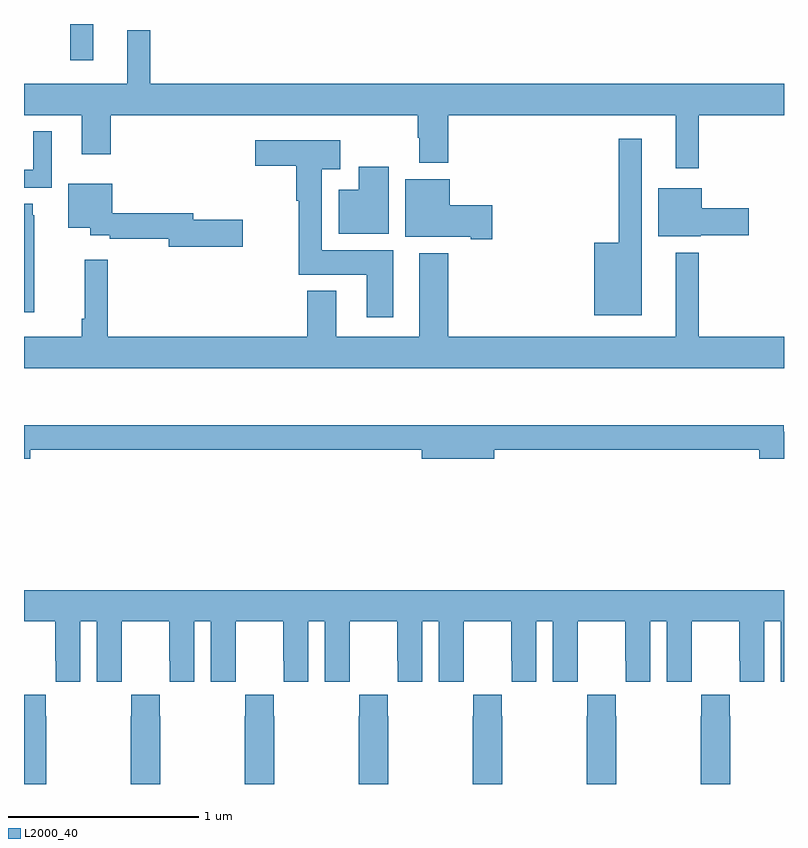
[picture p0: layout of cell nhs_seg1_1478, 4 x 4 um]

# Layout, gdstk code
import gdstk
lib = gdstk.Library(unit=1e-6, precision=1e-09)
def R(c, l, rs):  # rectangles x0, y0, x1, y1
    for r in rs: c.add(gdstk.rectangle(r[:2], r[2:], *l))
def P(c, l, *ps):  # polygons
    for p in ps: c.add(gdstk.Polygon(p, *l))
L2000_40 = (2000, 40)

nhs_seg1_1478 = lib.new_cell('nhs_seg1_1478')
R(nhs_seg1_1478, L2000_40, [(191.244,564.009,191.365,564.199)])
P(nhs_seg1_1478, L2000_40, [(194.551,563.72),(195,563.72),(195,563.884),(191.665,563.884),(191.665,564.166),(191.543,564.166),(191.543,563.884),(191,563.884),(191,563.72),(191.303,563.72),(191.303,563.514),(191.456,563.514),(191.456,563.72),(193.072,563.72),(193.072,563.6),(193.079,563.6),(193.079,563.468),(193.232,563.468),(193.232,563.72),(194.429,563.72),(194.429,563.439),(194.551,563.439)],
  [(191.146,563.635),(191.048,563.635),(191.048,563.433),(191,563.433),(191,563.337),(191.146,563.337)],
  [(194.251,563.596),(194.13,563.596),(194.13,563.047),(194,563.047),(194,562.667),(194.251,562.667)],
  [(192.943,563.008),(192.568,563.008),(192.568,563.435),(192.664,563.435),(192.664,563.587),(192.216,563.587),(192.216,563.453),(192.434,563.453),(192.434,563.269),(192.446,563.269),(192.446,562.88),(192.803,562.88),(192.803,562.656),(192.943,562.656)],
  [(192.919,563.449),(192.761,563.449),(192.761,563.326),(192.656,563.326),(192.656,563.096),(192.919,563.096)],
  [(193.465,563.244),(193.24,563.244),(193.24,563.383),(193.007,563.383),(193.007,563.078),(193.352,563.078),(193.352,563.066),(193.465,563.066)],
  [(192.151,563.168),(191.89,563.168),(191.89,563.204),(191.464,563.204),(191.464,563.359),(191.234,563.359),(191.234,563.126),(191.348,563.126),(191.348,563.087),(191.452,563.087),(191.452,563.068),(191.762,563.068),(191.762,563.026),(192.151,563.026)],
  [(194.562,563.087),(194.815,563.087),(194.815,563.229),(194.566,563.229),(194.566,563.335),(194.339,563.335),(194.339,563.081),(194.562,563.081)],
  [(191.053,563.193),(191.047,563.193),(191.047,563.252),(191,563.252),(191,562.683),(191.053,562.683)],
  [(195,562.552),(194.551,562.552),(194.551,562.996),(194.429,562.996),(194.429,562.552),(193.232,562.552),(193.232,562.993),(193.079,562.993),(193.079,562.552),(192.643,562.552),(192.643,562.795),(192.491,562.795),(192.491,562.552),(191.441,562.552),(191.441,562.957),(191.32,562.957),(191.32,562.648),(191.305,562.648),(191.305,562.552),(191,562.552),(191,562.388),(195,562.388)],
  [(191.032,561.958),(193.094,561.958),(193.094,561.911),(193.474,561.911),(193.474,561.958),(194.87,561.958),(194.87,561.911),(195,561.911),(195,562.053),(194.998,562.053),(194.998,562.087),(191,562.087),(191,561.911),(191.032,561.911)],
  [(191,561.056),(191.165,561.056),(191.165,560.848),(191.166,560.848),(191.166,560.736),(191.296,560.736),(191.296,561.056),(191.384,561.056),(191.384,560.736),(191.514,560.736),(191.514,560.848),(191.515,560.848),(191.515,561.056),(191.765,561.056),(191.765,560.848),(191.766,560.848),(191.766,560.736),(191.896,560.736),(191.896,561.056),(191.984,561.056),(191.984,560.736),(192.114,560.736),(192.114,560.848),(192.115,560.848),(192.115,561.056),(192.365,561.056),(192.365,560.848),(192.366,560.848),(192.366,560.736),(192.496,560.736),(192.496,561.056),(192.584,561.056),(192.584,560.736),(192.714,560.736),(192.714,560.848),(192.715,560.848),(192.715,561.056),(192.965,561.056),(192.965,560.848),(192.966,560.848),(192.966,560.736),(193.096,560.736),(193.096,561.056),(193.184,561.056),(193.184,560.736),(193.314,560.736),(193.314,560.848),(193.315,560.848),(193.315,561.056),(193.565,561.056),(193.565,560.848),(193.566,560.848),(193.566,560.736),(193.696,560.736),(193.696,561.056),(193.784,561.056),(193.784,560.736),(193.914,560.736),(193.914,560.848),(193.915,560.848),(193.915,561.056),(194.165,561.056),(194.165,560.848),(194.166,560.848),(194.166,560.736),(194.296,560.736),(194.296,561.056),(194.384,561.056),(194.384,560.736),(194.514,560.736),(194.514,560.848),(194.515,560.848),(194.515,561.056),(194.765,561.056),(194.765,560.848),(194.766,560.848),(194.766,560.736),(194.896,560.736),(194.896,561.056),(194.984,561.056),(194.984,560.736),(195,560.736),(195,561.22),(191,561.22)],
  [(191.118,560.555),(191.115,560.555),(191.115,560.668),(191,560.668),(191,560.199),(191.118,560.199)],
  [(191.718,560.555),(191.715,560.555),(191.715,560.668),(191.565,560.668),(191.565,560.555),(191.563,560.555),(191.563,560.199),(191.718,560.199)],
  [(192.318,560.555),(192.315,560.555),(192.315,560.668),(192.165,560.668),(192.165,560.555),(192.163,560.555),(192.163,560.199),(192.318,560.199)],
  [(192.918,560.555),(192.915,560.555),(192.915,560.668),(192.765,560.668),(192.765,560.555),(192.763,560.555),(192.763,560.199),(192.918,560.199)],
  [(193.518,560.555),(193.515,560.555),(193.515,560.668),(193.365,560.668),(193.365,560.555),(193.363,560.555),(193.363,560.199),(193.518,560.199)],
  [(194.118,560.555),(194.115,560.555),(194.115,560.668),(193.965,560.668),(193.965,560.555),(193.963,560.555),(193.963,560.199),(194.118,560.199)],
  [(194.718,560.555),(194.715,560.555),(194.715,560.668),(194.565,560.668),(194.565,560.555),(194.563,560.555),(194.563,560.199),(194.718,560.199)])

lib.write_gds('nhs_seg1_1478.gds')
